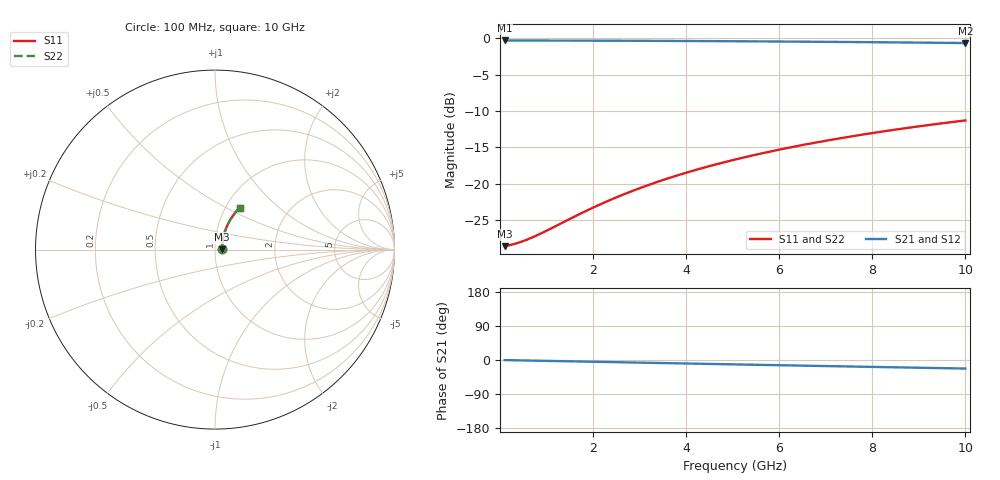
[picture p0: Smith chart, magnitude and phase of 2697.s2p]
# Hz S RI R 50.00
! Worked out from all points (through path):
!   100 points, 100 MHz to 10 GHz, reference 50 ohm
!   highest |S21| = -0.33 dB at 100 MHz (marker M1); lowest = -0.7 dB at 10 GHz (marker M2)
!   group delay of S21, straight-line fit = 6.28 ps
!   lowest |S11| = -28.5 dB at 100 MHz (marker M3), VSWR 1.08, Z = 53.9 + j0.291 ohm
!   |S11| at or under -10 dB: start of sweep to end of sweep
!   |S22| runs from -28.5 to -11.3 dB; largest |S21 - S12| = 1e-13
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1e8  0.0374 0.0027  0.9626 -0.0039  0.9626 -0.0039  0.0374 0.0027
3e8  0.0379 0.00809  0.9621 -0.0117  0.9621 -0.0117  0.0379 0.00809
4e8  0.0381 0.0108  0.9619 -0.0156  0.9619 -0.0156  0.0381 0.0108
5e8  0.0383 0.0135  0.9617 -0.0195  0.9617 -0.0195  0.0383 0.0135
7e8  0.0388 0.0188  0.9612 -0.0272  0.9612 -0.0272  0.0388 0.0188
1e9  0.0396 0.0269  0.9603 -0.0388  0.9603 -0.0388  0.0396 0.0269
1.8e9  0.0424 0.0482  0.9573 -0.0697  0.9573 -0.0697  0.0424 0.0482
2.2e9  0.0443 0.0587  0.9553 -0.0851  0.9553 -0.0851  0.0443 0.0587
2.6e9  0.0466 0.0692  0.9529 -0.1003  0.9529 -0.1003  0.0466 0.0692
3e9  0.0491 0.0796  0.9502 -0.1155  0.9502 -0.1155  0.0491 0.0796
3.4e9  0.052 0.0898  0.9472 -0.1306  0.9472 -0.1306  0.052 0.0898
3.8e9  0.0551 0.1  0.9438 -0.1455  0.9438 -0.1455  0.0551 0.1
4.2e9  0.0586 0.11  0.9401 -0.1603  0.9401 -0.1603  0.0586 0.11
4.6e9  0.0624 0.1199  0.936 -0.175  0.936 -0.175  0.0624 0.1199
5.1e9  0.0675 0.132  0.9305 -0.1931  0.9305 -0.1931  0.0675 0.132
5.5e9  0.072 0.1415  0.9258 -0.2075  0.9258 -0.2075  0.072 0.1415
5.9e9  0.0767 0.1509  0.9207 -0.2216  0.9207 -0.2216  0.0767 0.1509
6.7e9  0.0869 0.169  0.9097 -0.2493  0.9097 -0.2493  0.0869 0.169
7.5e9  0.0982 0.1863  0.8976 -0.2763  0.8976 -0.2763  0.0982 0.1863
8.4e9  0.112 0.2047  0.8827 -0.3055  0.8827 -0.3055  0.112 0.2047
9.2e9  0.1252 0.22  0.8685 -0.3306  0.8685 -0.3306  0.1252 0.22
1e10  0.1391 0.2344  0.8534 -0.3546  0.8534 -0.3546  0.1391 0.2344
